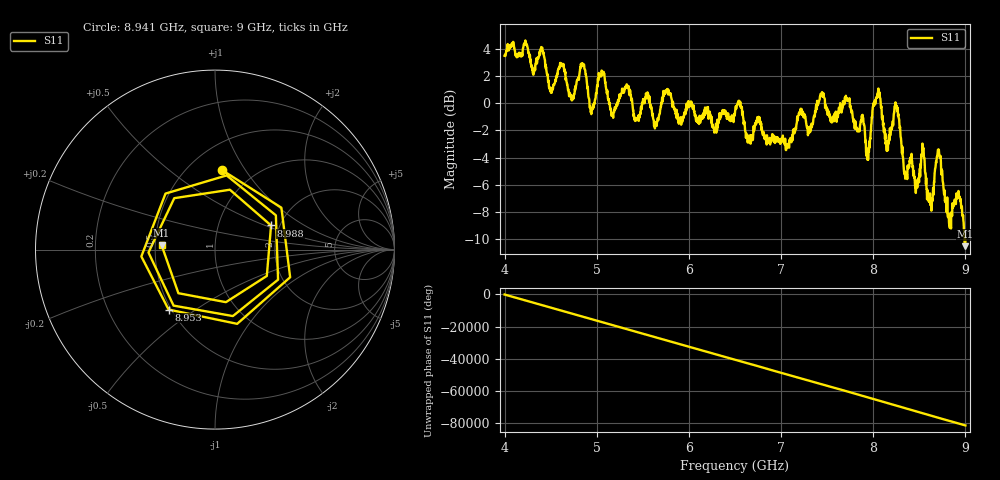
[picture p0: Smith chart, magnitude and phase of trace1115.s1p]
! Created with skrf 1.8.0 (http://scikit-rf.org).
# Hz S RI R 50.0
!freq ReS11 ImS11
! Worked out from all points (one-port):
!   1601 points, 4 GHz to 9 GHz, reference 50 ohm
!   lowest |S11| = -10.5 dB at 9 GHz (marker M1), VSWR 1.85, Z = 27 + j1.49 ohm
!   |S11| at or under -10 dB: 8.991906 GHz to 8.996831 GHz (4.925 MHz wide, 0.0548 % of centre); 8.997166 GHz to end of sweep
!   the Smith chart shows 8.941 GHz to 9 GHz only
!   S11 on the Smith chart (normalised r, x): 8.941 GHz: 0.72, +0.79; 8.953 GHz: 0.48, -0.39; 8.988 GHz: 1.80, +0.55; 9 GHz: 0.54, +0.03
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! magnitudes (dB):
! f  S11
! 4 GHz  3.5
! 4.406 GHz  4.0
! 4.506 GHz  0.8
! 4.625 GHz  2.8
! 4.725 GHz  0.4
! 4.853 GHz  2.8
! 4.947 GHz  -0.5
! 5.056 GHz  2.3
! 5.162 GHz  -0.9
! 5.25 GHz  0.4
! 5.875 GHz  -0.8
! 6.5 GHz  -0.6
! 7.125 GHz  -2.7
! 7.441 GHz  0.8
! 7.75 GHz  -0.2
! 7.941 GHz  -3.5
! 8.044 GHz  0.7
! 8.153 GHz  -3.2
! 8.25 GHz  -0.3
! 8.375 GHz  -4.6
! 8.538 GHz  -3.4
! 8.622 GHz  -7.4
! 8.709 GHz  -3.6
! 8.819 GHz  -8.1
! 8.941 GHz  -7.0
! 8.953 GHz  -7.5
! 8.988 GHz  -9.4
! 9 GHz  -10.5
